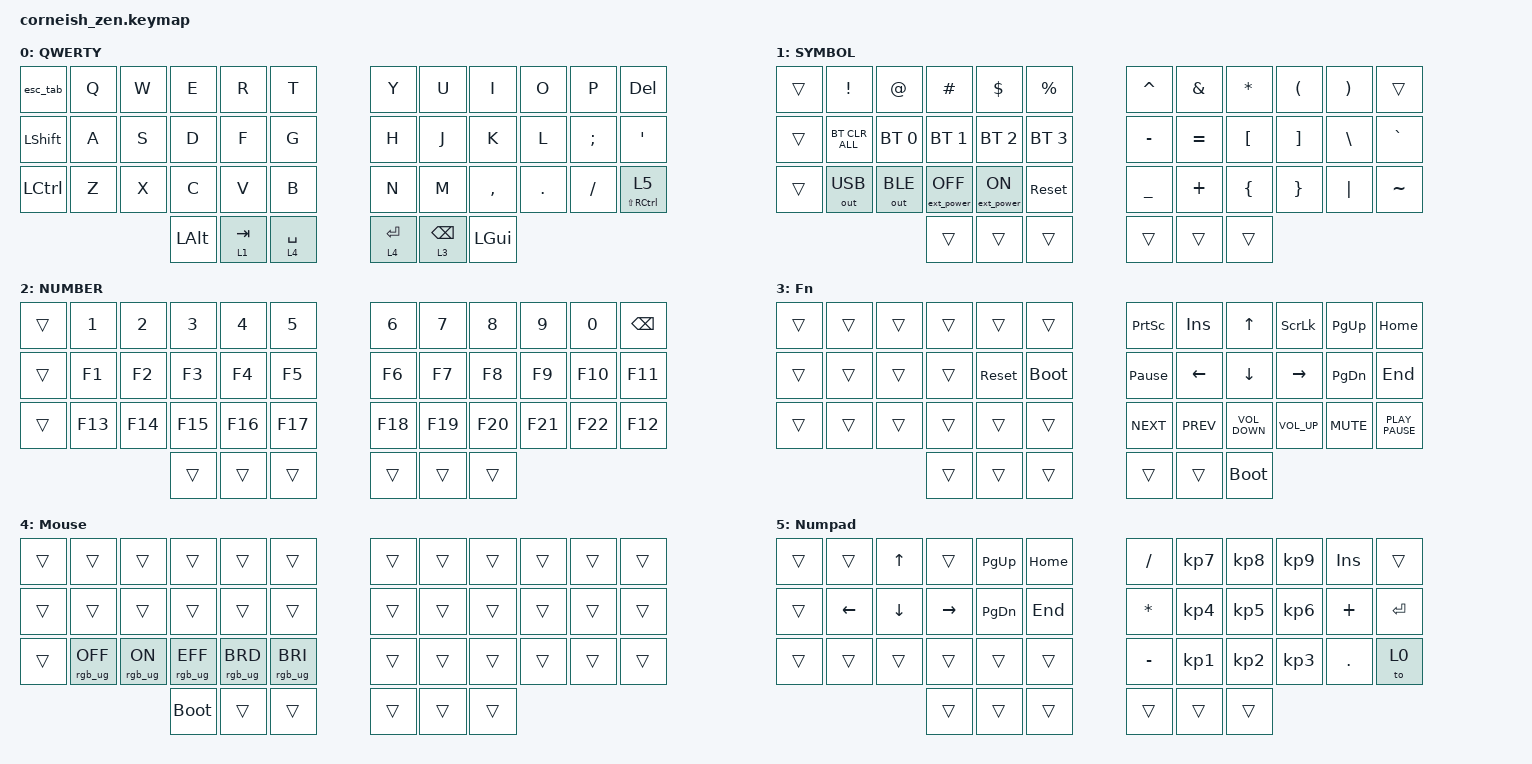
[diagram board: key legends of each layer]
/*
 * Copyright (c) 2020 The ZMK Contributors
 *
 * SPDX-License-Identifier: MIT
 */

#include <behaviors.dtsi>
#include <dt-bindings/zmk/bt.h>
#include <dt-bindings/zmk/ext_power.h>
#include <dt-bindings/zmk/keys.h>
#include <dt-bindings/zmk/outputs.h>
#include <dt-bindings/zmk/rgb.h>

/ {
    chosen {
        zmk,matrix_transform = &default_transform;

        // zmk,matrix_transform = &five_column_transform;
    };
};

/ {
    behaviors {
        td0: td0 {
            compatible = "zmk,behavior-tap-dance";
            label = "TD0";
            #binding-cells = <0>;
            bindings = <&kp LEFT_SHIFT>, <&kp CAPS>;
        };

        esc_tab: esc_tab {
            compatible = "zmk,behavior-mod-morph";
            label = "ESC_TAB";
            bindings = <&kp ESCAPE>, <&kp TAB>;

            #binding-cells = <0>;
            mods = <(MOD_LALT|MOD_LGUI)>;
            keep-mods = <(MOD_LALT|MOD_LGUI)>;
        };

        layer_hold: layer_hold {
            compatible = "zmk,behavior-hold-tap";
            label = "LAYER_HOLD";
            bindings = <&kp>, <&to>;

            #binding-cells = <2>;
            tapping-term-ms = <200>;
        };
    };

    keymap {
        compatible = "zmk,keymap";

        Qwerty {
            display-name = "QWERTY";

            // --------------------------------------------------------------------------------
            // |  TAB |  Q  |  W  |  E  |  R  |  T  |   |  Y  |  U   |  I  |  O  |  P  | BKSP |
            // | CTRL |  A  |  S  |  D  |  F  |  G  |   |  H  |  J   |  K  |  L  |  ;  |  '   | 
            // | SHFT |  Z  |  X  |  C  |  V  |  B  |   |  N  |  M   |  ,  |  .  |  /  | ESC  |
            //                    | GUI | LWR | SPC |   | ENT | RSE  | ALT |

            bindings = <
&esc_tab        &kp Q  &kp W  &kp E         &kp R      &kp T          &kp Y        &kp U            &kp I         &kp O    &kp P     &kp DEL
&kp LEFT_SHIFT  &kp A  &kp S  &kp D         &kp F      &kp G          &kp H        &kp J            &kp K         &kp L    &kp SEMI  &kp SQT
&kp LCTRL       &kp Z  &kp X  &kp C         &kp V      &kp B          &kp N        &kp M            &kp COMMA     &kp DOT  &kp FSLH  &layer_hold LS(RIGHT_CONTROL) 5
                              &kp LEFT_ALT  &lt 1 TAB  &lt 4 SPACE    &lt 4 ENTER  &lt 3 BACKSPACE  &kp LEFT_GUI
            >;
        };

        symbol {
            display-name = "SYMBOL";

            // -----------------------------------------------------------------------------------------
            // |  TAB |  !  |  @  |  #  |  $  |  %  |   |  ^  |  &  |  *  |  (  |  )  | BKSP |
            // | CTRL |     |     |     |     |     |   |  -  |  =  |  [  |  ]  |  \  |  `   |
            // | SHFT |     |     |     |     |     |   |  _  |  +  |  {  |  }  | "|" |  ~   |
            //                    | GUI |     | SPC |   | ENT |     | ALT |

            bindings = <
&trans  &kp EXCL        &kp AT        &kp HASH           &kp DLLR          &kp PRCNT       &kp CARET  &kp AMPS   &kp ASTRK  &kp LPAR  &kp RPAR  &trans
&trans  &bt BT_CLR_ALL  &bt BT_SEL 0  &bt BT_SEL 1       &bt BT_SEL 2      &bt BT_SEL 3    &kp MINUS  &kp EQUAL  &kp LBKT   &kp RBKT  &kp BSLH  &kp GRAVE
&trans  &out OUT_USB    &out OUT_BLE  &ext_power EP_OFF  &ext_power EP_ON  &sys_reset      &kp UNDER  &kp PLUS   &kp LBRC   &kp RBRC  &kp PIPE  &kp TILDE
                                      &trans             &trans            &trans          &trans     &trans     &trans
            >;
        };

        number {
            display-name = "NUMBER";

            // -----------------------------------------------------------------------------------------
            // |  TAB |  1  |  2  |  3  |  4  |  5  |   |  6  |  7  |  8  |  9  |  0  | BKSP |
            // | BTCLR| BT1 | BT2 | BT3 | BT4 | BT5 |   | LFT | DWN |  UP | RGT |     |      |
            // | SHFT |     |     |     |     |     |   |     |     |     |     |     |      |
            //                    | GUI |     | SPC |   | ENT |     | ALT |

            bindings = <
&trans  &kp N1   &kp N2   &kp N3   &kp N4   &kp N5     &kp N6   &kp N7   &kp N8   &kp N9   &kp N0   &kp BSPC
&trans  &kp F1   &kp F2   &kp F3   &kp F4   &kp F5     &kp F6   &kp F7   &kp F8   &kp F9   &kp F10  &kp F11
&trans  &kp F13  &kp F14  &kp F15  &kp F16  &kp F17    &kp F18  &kp F19  &kp F20  &kp F21  &kp F22  &kp F12
                          &trans   &trans   &trans     &trans   &trans   &trans
            >;
        };

        navigation {
            display-name = "Fn";
            bindings = <
&trans  &trans  &trans  &trans  &trans      &trans         &kp PRINTSCREEN  &kp INSERT  &kp UP_ARROW       &kp SCROLLLOCK  &kp PAGE_UP    &kp HOME
&trans  &trans  &trans  &trans  &sys_reset  &bootloader    &kp PAUSE_BREAK  &kp LEFT    &kp DOWN           &kp RIGHT       &kp PAGE_DOWN  &kp END
&trans  &trans  &trans  &trans  &trans      &trans         &kp K_NEXT       &kp K_PREV  &kp K_VOLUME_DOWN  &kp K_VOL_UP    &kp K_MUTE     &kp K_PLAY_PAUSE
                        &trans  &trans      &trans         &trans           &trans      &bootloader
            >;
        };

        Mouse {
            bindings = <
&trans  &trans           &trans          &trans           &trans           &trans             &trans  &trans  &trans  &trans  &trans  &trans
&trans  &trans           &trans          &trans           &trans           &trans             &trans  &trans  &trans  &trans  &trans  &trans
&trans  &rgb_ug RGB_OFF  &rgb_ug RGB_ON  &rgb_ug RGB_EFF  &rgb_ug RGB_BRD  &rgb_ug RGB_BRI    &trans  &trans  &trans  &trans  &trans  &trans
                                         &bootloader      &trans           &trans             &trans  &trans  &trans
            >;
        };

        Numpad {
            bindings = <
&trans  &trans    &kp UP_ARROW    &trans     &kp PAGE_UP    &kp HOME    &kp SLASH     &kp KP_N7        &kp KP_NUMBER_8  &kp KP_NUMBER_9  &kp INSERT  &trans
&trans  &kp LEFT  &kp DOWN_ARROW  &kp RIGHT  &kp PAGE_DOWN  &kp END     &kp ASTERISK  &kp KP_NUMBER_4  &kp KP_NUMBER_5  &kp KP_NUMBER_6  &kp PLUS    &kp ENTER
&trans  &trans    &trans          &trans     &trans         &trans      &kp MINUS     &kp KP_NUMBER_1  &kp KP_NUMBER_2  &kp KP_NUMBER_3  &kp PERIOD  &to 0
                                  &trans     &trans         &trans      &trans        &trans           &trans
            >;
        };
    };
};
